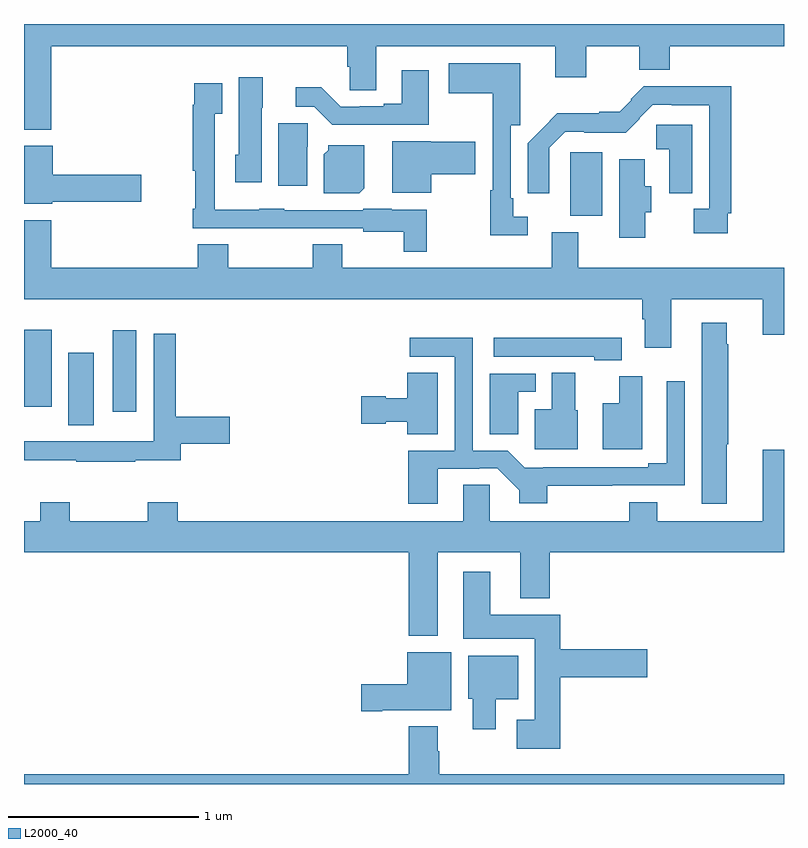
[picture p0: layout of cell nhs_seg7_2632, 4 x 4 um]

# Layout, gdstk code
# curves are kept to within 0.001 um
import gdstk
lib = gdstk.Library(unit=1e-6, precision=1e-09)
def R(c, l, rs):  # rectangles x0, y0, x1, y1
    for r in rs: c.add(gdstk.rectangle(r[:2], r[2:], *l))
def P(c, l, *ps):  # polygons
    for p in ps: c.add(gdstk.Polygon(p, *l))
L2000_40 = (2000, 40)

nhs_seg7_2632 = lib.new_cell('nhs_seg7_2632')
R(nhs_seg7_2632, L2000_40, [(281.234,1063.888,281.368,1064.269), (281.468,1063.959,281.59,1064.389), (281,1063.986,281.146,1064.392), (283.874,1064.99,284.044,1065.324)])
P(nhs_seg7_2632, L2000_40, [(283.796,1065.72),(283.96,1065.72),(283.96,1065.884),(284.237,1065.884),(284.237,1065.758),(284.398,1065.758),(284.398,1065.884),(285,1065.884),(285,1066),(281,1066),(281,1065.443),(281.144,1065.443),(281.144,1065.884),(282.701,1065.884),(282.701,1065.774),(282.714,1065.774),(282.714,1065.652),(282.853,1065.652),(282.853,1065.884),(283.796,1065.884)],
  [(283.651,1064.985),(283.575,1064.985),(283.575,1065.082),(283.563,1065.082),(283.563,1065.468),(283.613,1065.468),(283.613,1065.793),(283.236,1065.793),(283.236,1065.635),(283.467,1065.635),(283.467,1065.125),(283.455,1065.125),(283.455,1064.888),(283.651,1064.888)],
  [(283.129,1065.757),(282.989,1065.757),(282.989,1065.58),(282.893,1065.58),(282.893,1065.567),(282.766,1065.567),(282.766,1065.564),(282.666,1065.564),(282.564,1065.667),(282.429,1065.667),(282.429,1065.564),(282.528,1065.564),(282.622,1065.47),(283.129,1065.47)],
  [(282.25,1065.558),(282.256,1065.558),(282.256,1065.721),(282.131,1065.721),(282.131,1065.312),(282.113,1065.312),(282.113,1065.168),(282.25,1065.168)],
  [(283.12,1065.022),(282.936,1065.022),(282.936,1065.028),(282.786,1065.028),(282.786,1065.021),(282.369,1065.021),(282.369,1065.028),(282.237,1065.028),(282.237,1065.022),(282.003,1065.022),(282.003,1065.527),(282.043,1065.527),(282.043,1065.688),(281.895,1065.688),(281.895,1065.575),(281.887,1065.575),(281.887,1065.228),(281.902,1065.228),(281.902,1065.028),(281.887,1065.028),(281.887,1064.925),(282.137,1064.925),(282.137,1064.924),(282.369,1064.924),(282.369,1064.925),(282.786,1064.925),(282.786,1064.906),(282.999,1064.906),(282.999,1064.801),(283.12,1064.801)],
  [(284.703,1065.004),(284.723,1065.004),(284.723,1065.673),(284.263,1065.673),(284.193,1065.603),(284.197,1065.599),(284.135,1065.537),(284.027,1065.537),(284.027,1065.529),(283.807,1065.529),(283.652,1065.372),(283.652,1065.108),(283.764,1065.108),(283.764,1065.348),(283.848,1065.432),(283.948,1065.432),(283.948,1065.428),(284.167,1065.428),(284.241,1065.501),(284.238,1065.504),(284.31,1065.576),(284.41,1065.576),(284.41,1065.572),(284.607,1065.572),(284.607,1065.028),(284.524,1065.028),(284.524,1064.9),(284.703,1064.9)],
  [(282.49,1065.354),(282.494,1065.354),(282.494,1065.477),(282.338,1065.477),(282.338,1065.15),(282.49,1065.15)],
  [(284.518,1065.47),(284.328,1065.47),(284.328,1065.341),(284.396,1065.341),(284.396,1065.109),(284.518,1065.109)],
  [(283.144,1065.209),(283.375,1065.209),(283.375,1065.379),(283.14,1065.379),(283.14,1065.382),(282.938,1065.382),(282.938,1065.113),(283.144,1065.113)],
  [(282.79,1065.136),(282.79,1065.361),(282.6,1065.361),(282.6,1065.336),(282.578,1065.314),(282.578,1065.11),(282.764,1065.11)],
  [(281.148,1065.064),(281.617,1065.064),(281.617,1065.206),(281.152,1065.206),(281.152,1065.358),(281,1065.358),(281,1065.053),(281.148,1065.053)],
  [(284.269,1065.01),(284.302,1065.01),(284.302,1065.147),(284.266,1065.147),(284.266,1065.289),(284.132,1065.289),(284.132,1064.874),(284.269,1064.874)],
  [(284.407,1064.552),(284.888,1064.552),(284.888,1064.364),(285,1064.364),(285,1064.716),(283.918,1064.716),(283.918,1064.905),(283.778,1064.905),(283.778,1064.716),(282.675,1064.716),(282.675,1064.84),(282.52,1064.84),(282.52,1064.716),(282.075,1064.716),(282.075,1064.84),(281.915,1064.84),(281.915,1064.716),(281.144,1064.716),(281.144,1064.968),(281,1064.968),(281,1064.552),(284.255,1064.552),(284.255,1064.446),(284.267,1064.446),(284.267,1064.295),(284.407,1064.295)],
  [(284.698,1063.788),(284.706,1063.788),(284.706,1064.315),(284.698,1064.315),(284.698,1064.428),(284.567,1064.428),(284.567,1063.476),(284.698,1063.476)],
  [(281.585,1063.705),(281.825,1063.705),(281.825,1063.792),(282.082,1063.792),(282.082,1063.934),(281.798,1063.934),(281.798,1064.371),(281.682,1064.371),(281.682,1063.804),(281.472,1063.804),(281.472,1063.803),(281.138,1063.803),(281.138,1063.805),(281,1063.805),(281,1063.705),(281.275,1063.705),(281.275,1063.695),(281.585,1063.695)],
  [(284.146,1064.35),(283.473,1064.35),(283.473,1064.249),(284.001,1064.249),(284.001,1064.231),(284.146,1064.231)],
  [(283.177,1063.659),(283.397,1063.659),(283.397,1063.662),(283.491,1063.662),(283.607,1063.546),(283.607,1063.478),(283.755,1063.478),(283.755,1063.571),(284.478,1063.572),(284.478,1064.119),(284.382,1064.119),(284.382,1063.688),(284.285,1063.688),(284.285,1063.668),(283.732,1063.668),(283.732,1063.665),(283.636,1063.665),(283.546,1063.755),(283.362,1063.755),(283.362,1064.348),(283.029,1064.348),(283.029,1064.25),(283.266,1064.25),(283.266,1063.755),(283.022,1063.755),(283.022,1063.476),(283.177,1063.476)],
  [(283.177,1064.165),(283.016,1064.165),(283.016,1064.029),(282.903,1064.029),(282.903,1064.042),(282.774,1064.042),(282.774,1063.895),(282.903,1063.895),(282.903,1063.907),(283.016,1063.907),(283.016,1063.84),(283.177,1063.84)],
  [(283.915,1063.968),(283.9,1063.968),(283.9,1064.164),(283.778,1064.164),(283.778,1063.972),(283.688,1063.972),(283.688,1063.763),(283.915,1063.763)],
  [(283.6,1064.064),(283.693,1064.064),(283.693,1064.16),(283.451,1064.16),(283.451,1063.84),(283.6,1063.84)],
  [(284.254,1064.146),(284.132,1064.146),(284.132,1064.005),(284.045,1064.005),(284.045,1063.763),(284.254,1063.763)],
  [(283.177,1063.22),(283.613,1063.22),(283.613,1062.977),(283.766,1062.977),(283.766,1063.22),(285,1063.22),(285,1063.759),(284.888,1063.759),(284.888,1063.384),(284.332,1063.384),(284.332,1063.483),(284.185,1063.483),(284.185,1063.384),(283.452,1063.384),(283.452,1063.574),(283.313,1063.574),(283.313,1063.384),(281.81,1063.384),(281.81,1063.483),(281.65,1063.483),(281.65,1063.384),(281.241,1063.384),(281.241,1063.483),(281.086,1063.483),(281.086,1063.384),(281,1063.384),(281,1063.22),(283.025,1063.22),(283.025,1062.779),(283.177,1062.779)],
  [(283.823,1062.563),(284.281,1062.563),(284.281,1062.71),(283.823,1062.71),(283.823,1062.892),(283.453,1062.892),(283.453,1063.117),(283.313,1063.117),(283.313,1062.764),(283.688,1062.764),(283.688,1062.337),(283.593,1062.337),(283.593,1062.185),(283.823,1062.185)],
  [(282.886,1062.389),(283.249,1062.389),(283.249,1062.694),(283.016,1062.694),(283.016,1062.524),(282.774,1062.524),(282.774,1062.382),(282.886,1062.382)],
  [(283.483,1062.446),(283.6,1062.446),(283.6,1062.676),(283.337,1062.676),(283.337,1062.45),(283.361,1062.45),(283.361,1062.288),(283.483,1062.288)],
  [(285,1062.052),(283.185,1062.052),(283.185,1062.173),(283.177,1062.173),(283.177,1062.304),(283.025,1062.304),(283.025,1062.052),(281,1062.052),(281,1062),(285,1062)])

lib.write_gds('nhs_seg7_2632.gds')
